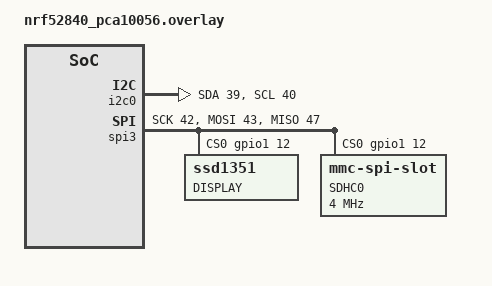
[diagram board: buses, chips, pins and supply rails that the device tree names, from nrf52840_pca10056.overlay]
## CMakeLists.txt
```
cmake_minimum_required(VERSION 3.8.2)
set_property(GLOBAL PROPERTY CSTD c11)


include($ENV{ZEPHYR_BASE}/cmake/app/boilerplate.cmake NO_POLICY_SCOPE)
project(otg2)

enable_language(C ASM)

set(CMAKE_C_FLAGS "${CMAKE_C_FLAGS} \
 -DARM_MATH_CM4 \
 -DDISABLE_FLOAT_API \
 -DFIXED_POINT \
 -DUSE_ALLOCA \
 -DHAVE_LRINT \
 -DHAVE_LRINTF \
 -DOPUS_ARM_ASM \
 -DOPUS_ARM_INLINE_EDSP \
 -DOPUS_ARM_INLINE_MEDIA \
 -DOPUS_ARM_MAY_HAVE_EDSP \
 -DOPUS_ARM_PRESUME_EDSP \
 -DCUSTOM_SUPPORT \
 -DVAR_ARRAYS \
 -DOPUS_BUILD \
 -DHAVE_CONFIG_H \
 -D_errata_191_ \
 -g \
")
# -DNOGUI \
# -DOVERRIDE_OPUS_ALLOC -DOVERRIDE_OPUS_FREE -D'opus_alloc(x)=NULL' -D'opus_free(x)=NULL' \

# Use DOPUS_ARM_INLINE_EDSP instead of
# -DOPUS_ARM_INLINE_ASM \

# Not if use minimal lib
# -DHAVE_ALLOCA_H \



target_sources(                     app PRIVATE src/main.c)
target_sources(                     app PRIVATE src/clock.c)
target_sources(                     app PRIVATE src/user_led.c)


if(DEFINED CONFIG_AUDIO_CODEC_SGTL5000)
	FILE(GLOB_RECURSE audio_sources src/audio/*.c)
	FILE(GLOB_RECURSE radio_sources src/radio/*.c)
endif()


if(DEFINED CONFIG_DISPLAY)
	FILE(GLOB_RECURSE display_sources src/display/*.c)
	FILE(GLOB_RECURSE ihm_sources src/gui/*.c)
endif()

if(DEFINED CONFIG_FILE_SYSTEM)
	FILE(GLOB_RECURSE storage_sources src/storage/*.c)
endif()

FILE(GLOB_RECURSE stat_sources src/statistic/*.c)


FILE(GLOB_RECURSE opus_celt lib/opus-1.2.1/celt/*.c)
FILE(GLOB_RECURSE opus_src lib/opus-1.2.1/src/*.c)
target_sources(app PRIVATE
	${opus_celt}
	${opus_src}
	lib/opus-1.2.1/celt/arm/celt_pitch_xcorr_arm_gcc.s
	lib/opus-1.2.1/silk/biquad_alt.c
	lib/opus-1.2.1/silk/lin2log.c
	lib/opus-1.2.1/silk/log2lin.c
	)

FILE(GLOB_RECURSE nordic_source modules/hal/nordic/nrfx/drivers/src/*.c)


target_sources(app PRIVATE
	${audio_sources}
	${radio_sources}
	${display_sources}
	${ihm_sources}
	${storage_sources}
	${stat_sources}
	${nordic_source}
	)

zephyr_include_directories(
	src/
	src/audio/
	lib/opus-1.2.1/include
	lib/opus-1.2.1/silk/	
	lib/opus-1.2.1/silk/fixed
	lib/opus-1.2.1/celt
	lib/opus-1.2.1/src
	src/audio/sgtl5000/
	src/radio/
	src/display/
	src/gui/
	src/storage/
	src/stat/
	)
	
	
	
#set(CMAKE_C_FLAGS "${CMAKE_C_FLAGS} \
# -DUSE_LV_DEMO \
#")
```

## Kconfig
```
# Kconfig - Private config options for echo-server sample app

#
# Copyright (c) 2018 Intel Corporation
#
# SPDX-License-Identifier: Apache-2.0
#

mainmenu "Audio demo sample application"

config AUDIO_CODEC_SGTL5000
	bool "Use I2S audio codec SGTL5000"
	default n
	help
	  SGTL5000 is an HW I2S audio codec.


if DISPLAY
#source "${APPLICATION_SOURCE_DIR}/src/oled/Kconfig.ssd1351"
# Kconfig - Configuration options for SSD1351 display

#
# Copyright (c) 2018 Jan Van Winkel <jan.van_winkel@dxplore.eu>
#
# SPDX-License-Identifier: Apache-2.0
#

menuconfig SSD1351_DISPLAY
	bool "SSD1351 display driver"
	help
	  Enable SSD1351 display driver compliant with display driver API.

if SSD1351_DISPLAY

config SSD1351_DISPLAY_DEV_NAME
	string "SSD1351 display device name"
	default "SSD1351_DISPLAY"

config SSD1351_DISPLAY_X_RES
	int "X resolution for SSD1351 display"
	default 128

config SSD1351_DISPLAY_Y_RES
	int "Y resolution for SSD1351 display"
	default 96

endif #SSD1351_DISPLAY
endif # DISPLAY


source "Kconfig.zephyr"
```

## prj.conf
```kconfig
CONFIG_SYS_CLOCK_TICKS_PER_SEC=1000


CONFIG_SPI_1=n
CONFIG_SPI_2=n

# Kernel options
CONFIG_ENTROPY_GENERATOR=y
CONFIG_INIT_STACKS=y

#
# ARM Options
#
CONFIG_ARM_STACK_PROTECTION=y


#
# ARM Cortex-M0/M0+/M3/M4/M7/M23/M33 options
#
CONFIG_MPU_STACK_GUARD=y


#
# General Architecture Options
#

CONFIG_HW_STACK_PROTECTION=y

#
# Bluetooth
#
# CONFIG_BT is not set

#
# General Kernel Options
#
CONFIG_MAIN_STACK_SIZE=4048

#
# Kernel Debugging and Metrics
#
CONFIG_THREAD_MONITOR=y
CONFIG_THREAD_NAME=y

#
# Shell Options
#
CONFIG_SHELL=y
#CONFIG_SHELL_BACKENDS=y
#CONFIG_SHELL_BACKEND_SERIAL=y

#CONFIG_SHELL_CMDS=y
#CONFIG_SHELL_CMDS_RESIZE=y
#CONFIG_SHELL_LOG_BACKEND=y
CONFIG_KERNEL_SHELL=y
CONFIG_DEVICE_SHELL=y


#
# C Library
#
CONFIG_NEWLIB_LIBC=y
CONFIG_STDOUT_CONSOLE=y

#
# Logging Options
#
CONFIG_LOG=y
CONFIG_LOG_BUFFER_SIZE=2048

#
# Debugging Options
#
CONFIG_DEBUG=y
CONFIG_STACK_USAGE=y
CONFIG_STACK_SENTINEL=y
CONFIG_PRINTK=y
CONFIG_ASSERT=y
CONFIG_ASSERT_LEVEL=2
CONFIG_OPENOCD_SUPPORT=y


#
# Compiler Options
#
#CONFIG_SIZE_OPTIMIZATIONS=y
#CONFIG_SPEED_OPTIMIZATIONS=y
CONFIG_DEBUG_OPTIMIZATIONS=y
#CONFIG_COMPILER_OPT="-g"
```

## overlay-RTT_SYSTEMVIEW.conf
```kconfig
# CONFIG_TRACING_CPU_STATS is not set

CONFIG_USE_SEGGER_RTT=y
CONFIG_SEGGER_SYSTEMVIEW=y
```

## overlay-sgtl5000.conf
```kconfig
CONFIG_AUDIO_CODEC_SGTL5000=y

CONFIG_I2C_0=y
CONFIG_HAS_DTS_I2C=y
CONFIG_I2C=y
CONFIG_I2C_NRFX=y
CONFIG_I2C_0_NRF_TWIM=y
CONFIG_NRFX_TWIM=y
#CONFIG_NRFX_I2S=y
```

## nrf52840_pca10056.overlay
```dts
/*
 * Copyright (c) 2019 Tavish Naruka <tavishnaruka@gmail.com>
 *
 * SPDX-License-Identifier: Apache-2.0
 */

&i2c0 {
	status = "okay";
	sda-pin = <39>;
	scl-pin = <40>;
};

&spi3 {
    status = "okay";
    cs-gpios = <&gpio1 12 0>;
	sck-pin = <42>;
	mosi-pin = <43>;
	miso-pin = <47>;
	
	ssd1351@0 {
		compatible = "ssd1351";
		label = "DISPLAY";
		reg = <0>;
	};
	
	
    sdhc0: sdhc@0 {
        compatible = "zephyr,mmc-spi-slot";
		reg = <0>;
        status = "okay";
        label = "SDHC0";
        spi-max-frequency = <4000000>;
        };
     
};
```

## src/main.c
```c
/*
 * main.c
 *
 *  Created on: 12 mars 2019
 *      Author: nlantz
 */


#include <zephyr.h>
#include <stdio.h>
#include <version.h>
#include <shell/shell.h>

#include <logging/log.h>
LOG_MODULE_REGISTER(main, LOG_LEVEL_DBG);

#include "radio.h"
#include "clock.h"

#ifdef CONFIG_AUDIO_CODEC_SGTL5000
#define AUDIO 1
#define RADIO 1
#endif

#if CONFIG_DISPLAY
#include "gui.h"
#endif


static struct k_sem quit_lock;

void quit(void)
{
	LOG_ERR("quit");
	k_sem_give(&quit_lock);
}


void panic(const char *msg)
{
	if (msg) {
		LOG_ERR("%s", msg);
	}

	for (;;) {
		k_sleep(K_FOREVER);
	}
}


/****************************************************************/
extern int storage_Init (void);

#include "user_led.h"
void main(void)
{
	LOG_INF("-- Zephyr:\t %s ",KERNEL_VERSION_STRING);
	LOG_INF("-- Board:\t %s", CONFIG_BOARD);
	LOG_INF("-- Compiled:\t %s %s", __DATE__, __TIME__);
	LOG_INF("Starting...");

	Led_Init();

	k_sem_init(&quit_lock, 0, UINT_MAX);

#if CONFIG_DISPLAY
	gui_preload();
#endif

#if RADIO
	//Init Radio Interface
	radio_Init();
#endif

#if AUDIO
	audio_server_init();
#endif

#if CONFIG_FILE_SYSTEM
	storage_Init();
#endif

	//Set Mode
	radio_mode_select(MODE_IDLE);
	//
    //shell_execute_cmd(NULL, "go");

#if CONFIG_DISPLAY
	gui_load();
#endif

	LOG_INF("wait App End...");
	k_sem_take(&quit_lock, K_FOREVER);
	LOG_INF("Stopping...");

#if AUDIO
	audio_server_stop();
#endif
}

#include <shell/shell.h>
#include <version.h>


static int cmd_version(const struct shell *shell, size_t argc, char **argv)
{
	ARG_UNUSED(argc);
	ARG_UNUSED(argv);

	shell_print(shell, "Zephyr version %s", KERNEL_VERSION_STRING);

	return 0;
}


SHELL_CMD_ARG_REGISTER(version, NULL, "Show kernel version", cmd_version, 1, 0);
```

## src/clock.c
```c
/*
 * clock.c
 *
 *  Created on: 1 avr. 2019
 *      Author: nlantz
 */


#include <errno.h>
#include <zephyr/types.h>
#include <device.h>
#include <clock_control.h>
#include <drivers/clock_control/nrf_clock_control.h>


#define DEBUG_RADIO_XTAL(flag)



static struct {
	struct device *clk_hf;
} clk;



int clk_init(void)
{
	struct device *clk_k32;
	//int err;

	/* Initialize LF CLK */
	clk_k32 = device_get_binding(DT_INST_0_NORDIC_NRF_CLOCK_LABEL "_32K");
	if (!clk_k32) {
		return -ENODEV;
	}

	clock_control_on(clk_k32, (void *)CLOCK_CONTROL_NRF_K32SRC);

	/* Initialize HF CLK */
	clk.clk_hf =
		device_get_binding(DT_INST_0_NORDIC_NRF_CLOCK_LABEL "_16M");
	if (!clk.clk_hf) {
		return -ENODEV;
	}

	return 0;
}




int clk_on(void)
{
	int err;

	/* turn on radio clock in non-blocking mode. */
	err = clock_control_on(clk.clk_hf, NULL);
	if (!err || err == -EINPROGRESS) {
		DEBUG_RADIO_XTAL(1);
	}

	return err;
}

int clk_on_wait(void)
{
	int err;

	/* turn on radio clock in blocking mode. */
	err = clock_control_on(clk.clk_hf, (void *)1);
	if (!err || err == -EINPROGRESS) {
		DEBUG_RADIO_XTAL(1);
	}

	return err;
}

int clk_off(void)
{
	int err;

	/* turn off radio clock in non-blocking mode. */
	err = clock_control_off(clk.clk_hf, NULL);
	if (!err) {
		DEBUG_RADIO_XTAL(0);
	} else if (err == -EBUSY) {
		DEBUG_RADIO_XTAL(1);
	}

	return err;
}
```
